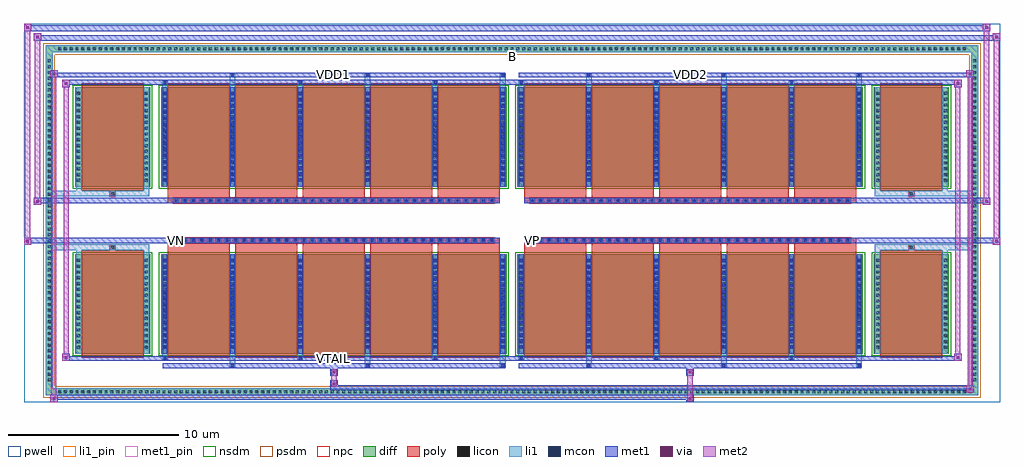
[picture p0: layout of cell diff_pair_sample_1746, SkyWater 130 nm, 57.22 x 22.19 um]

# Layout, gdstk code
import gdstk
lib = gdstk.Library(unit=1e-6, precision=5e-09)
def R(c, l, rs):  # rectangles x0, y0, x1, y1
    for r in rs: c.add(gdstk.rectangle(r[:2], r[2:], *l))
def A(c, l, x, y, w, h, nx, ny, dx, dy):  # array of equal rectangles
    R(c, l, [(x+i*dx, y+j*dy, x+i*dx+w, y+j*dy+h) for i in range(nx) for j in range(ny)])
def P(c, l, *ps):  # polygons
    for p in ps: c.add(gdstk.Polygon(p, *l))
pwell = (64, 44)
diff = (65, 20)
poly = (66, 20)
licon = (66, 44)
li1_pin = (67, 16)
li1 = (67, 20)
mcon = (67, 44)
met1_pin = (68, 16)
met1 = (68, 20)
via = (68, 44)
met2 = (69, 20)
nsdm = (93, 44)
psdm = (94, 20)
npc = (95, 20)

diff_pair_sample_1746 = lib.new_cell('diff_pair_sample_1746')
R(diff_pair_sample_1746, pwell, [(-28.61,-10.66,28.61,11.53), (-25.93,-8.85,-0.01,-0.805), (0.01,-8.85,25.93,-0.805), (-25.93,0.805,-0.01,8.85), (0.01,0.805,25.93,8.85)])
A(diff_pair_sample_1746, diff, -26.725, -10.26, 0.41, 0.41, 157, 2, 0.34, 20.11)
A(diff_pair_sample_1746, diff, -27.34, -9.555, 0.41, 0.41, 1, 56, 0, 0.34)
A(diff_pair_sample_1746, diff, 26.93, -9.555, 0.41, 0.41, 1, 56, 0, 0.34)
R(diff_pair_sample_1746, diff, [(-26.725,-10.26,26.725,-9.85), (-27.34,-9.555,-26.93,9.555), (26.93,-9.555,27.34,9.555), (-25.62,-7.805,-21.21,-1.985), (-20.57,-7.805,-0.32,-1.985), (0.32,-7.805,20.57,-1.985), (21.21,-7.805,25.62,-1.985), (-25.62,1.985,-21.21,7.805), (-20.57,1.985,-0.32,7.805), (0.32,1.985,20.57,7.805), (21.21,1.985,25.62,7.805), (-26.725,9.85,26.725,10.26)])
P(diff_pair_sample_1746, diff, [(27.34,10.26),(-27.34,10.26),(-27.34,-9.85),(-26.93,-9.85),(-26.93,9.85),(26.93,9.85),(26.93,-9.85),(-26.93,-9.85),(-27.34,-9.85),(-27.34,-10.26),(27.34,-10.26)])
A(diff_pair_sample_1746, poly, -20.18, -8.055, 3.63, 6.32, 5, 2, 3.96, 9.79)
A(diff_pair_sample_1746, poly, 0.71, -8.055, 3.63, 6.32, 5, 2, 3.96, 9.79)
A(diff_pair_sample_1746, poly, -20.18, -1.735, 3.63, 0.4, 5, 2, 3.96, 3.07)
A(diff_pair_sample_1746, poly, 0.71, -1.735, 3.63, 0.4, 5, 2, 3.96, 3.07)
A(diff_pair_sample_1746, poly, -19.86, -1.335, 0.33, 0.33, 38, 2, 0.5, 2.34)
A(diff_pair_sample_1746, poly, 1.03, -1.335, 0.33, 0.33, 38, 2, 0.5, 2.34)
R(diff_pair_sample_1746, poly, [(-25.23,-8.055,-21.6,-1.735), (21.6,-8.055,25.23,-1.735), (-23.58,-1.735,-23.25,-1.405), (-23.58,-1.735,-23.25,-1.405), (23.25,-1.735,23.58,-1.405), (23.25,-1.735,23.58,-1.405), (-20.18,-1.335,-0.71,-1.005), (0.71,-1.335,20.18,-1.005), (-20.18,1.005,-0.71,1.335), (0.71,1.005,20.18,1.335), (-23.58,1.405,-23.25,1.735), (-23.58,1.405,-23.25,1.735), (23.25,1.405,23.58,1.735), (23.25,1.405,23.58,1.735), (-25.23,1.735,-21.6,8.055), (21.6,1.735,25.23,8.055)])
A(diff_pair_sample_1746, licon, -26.605, -10.14, 0.17, 0.17, 157, 2, 0.34, 20.11)
A(diff_pair_sample_1746, licon, -27.22, -9.435, 0.17, 0.17, 1, 56, 0, 0.34)
A(diff_pair_sample_1746, licon, 27.05, -9.435, 0.17, 0.17, 1, 56, 0, 0.34)
A(diff_pair_sample_1746, licon, -25.48, -7.53, 0.17, 0.17, 1, 16, 0, 0.34)
A(diff_pair_sample_1746, licon, -21.52, -7.53, 0.17, 0.17, 1, 16, 0, 0.34)
A(diff_pair_sample_1746, licon, -20.43, -7.53, 0.17, 0.17, 6, 16, 3.96, 0.34)
A(diff_pair_sample_1746, licon, 0.46, -7.53, 0.17, 0.17, 6, 16, 3.96, 0.34)
A(diff_pair_sample_1746, licon, 21.35, -7.53, 0.17, 0.17, 1, 16, 0, 0.34)
A(diff_pair_sample_1746, licon, 25.31, -7.53, 0.17, 0.17, 1, 16, 0, 0.34)
A(diff_pair_sample_1746, licon, -19.78, -1.255, 0.17, 0.17, 38, 2, 0.5, 2.34)
A(diff_pair_sample_1746, licon, 1.11, -1.255, 0.17, 0.17, 38, 2, 0.5, 2.34)
A(diff_pair_sample_1746, licon, -25.48, 2.26, 0.17, 0.17, 1, 16, 0, 0.34)
A(diff_pair_sample_1746, licon, -21.52, 2.26, 0.17, 0.17, 1, 16, 0, 0.34)
A(diff_pair_sample_1746, licon, -20.43, 2.26, 0.17, 0.17, 6, 16, 3.96, 0.34)
A(diff_pair_sample_1746, licon, 0.46, 2.26, 0.17, 0.17, 6, 16, 3.96, 0.34)
A(diff_pair_sample_1746, licon, 21.35, 2.26, 0.17, 0.17, 1, 16, 0, 0.34)
A(diff_pair_sample_1746, licon, 25.31, 2.26, 0.17, 0.17, 1, 16, 0, 0.34)
R(diff_pair_sample_1746, licon, [(-23.5,-1.655,-23.33,-1.485), (23.33,-1.655,23.5,-1.485), (-23.5,1.485,-23.33,1.655), (23.33,1.485,23.5,1.655)])
R(diff_pair_sample_1746, li1_pin, [(-0.25,9.35,0.25,9.85)])
A(diff_pair_sample_1746, li1, -26.685, -10.22, 0.33, 0.33, 157, 2, 0.34, 20.11)
A(diff_pair_sample_1746, li1, -27.3, -9.515, 0.33, 0.33, 1, 56, 0, 0.34)
A(diff_pair_sample_1746, li1, 26.97, -9.515, 0.33, 0.33, 1, 56, 0, 0.34)
A(diff_pair_sample_1746, li1, -16.55, -8.61, 0.33, 0.805, 3, 2, 7.92, 16.415)
A(diff_pair_sample_1746, li1, -16.47, -8.61, 0.17, 0.17, 3, 2, 7.92, 17.05)
A(diff_pair_sample_1746, li1, 4.34, -8.61, 0.33, 0.805, 3, 2, 7.92, 16.415)
A(diff_pair_sample_1746, li1, 4.42, -8.61, 0.17, 0.17, 3, 2, 7.92, 17.05)
A(diff_pair_sample_1746, li1, -20.51, -8.18, 0.33, 0.375, 3, 2, 7.92, 15.985)
A(diff_pair_sample_1746, li1, -20.43, -8.18, 0.17, 0.17, 3, 2, 7.92, 16.19)
A(diff_pair_sample_1746, li1, 0.38, -8.18, 0.33, 0.375, 3, 2, 7.92, 15.985)
A(diff_pair_sample_1746, li1, 0.46, -8.18, 0.17, 0.17, 3, 2, 7.92, 16.19)
A(diff_pair_sample_1746, li1, -20.51, -7.805, 0.33, 5.82, 6, 2, 3.96, 9.79)
A(diff_pair_sample_1746, li1, 0.38, -7.805, 0.33, 5.82, 6, 2, 3.96, 9.79)
A(diff_pair_sample_1746, li1, -25.56, -7.61, 0.33, 0.33, 1, 16, 0, 0.34)
A(diff_pair_sample_1746, li1, -21.6, -7.61, 0.33, 0.33, 1, 16, 0, 0.34)
A(diff_pair_sample_1746, li1, -20.51, -7.61, 0.33, 0.33, 6, 16, 3.96, 0.34)
A(diff_pair_sample_1746, li1, 0.38, -7.61, 0.33, 0.33, 6, 16, 3.96, 0.34)
A(diff_pair_sample_1746, li1, 21.27, -7.61, 0.33, 0.33, 1, 16, 0, 0.34)
A(diff_pair_sample_1746, li1, 25.23, -7.61, 0.33, 0.33, 1, 16, 0, 0.34)
A(diff_pair_sample_1746, li1, -20.43, -7.5, 0.17, 0.17, 6, 15, 3.96, 0.36)
A(diff_pair_sample_1746, li1, -20.43, -7.5, 0.17, 5.21, 6, 2, 3.96, 9.79)
A(diff_pair_sample_1746, li1, 0.46, -7.5, 0.17, 0.17, 6, 15, 3.96, 0.36)
A(diff_pair_sample_1746, li1, 0.46, -7.5, 0.17, 5.21, 6, 2, 3.96, 9.79)
A(diff_pair_sample_1746, li1, -19.86, -1.335, 0.33, 0.33, 38, 2, 0.5, 2.34)
A(diff_pair_sample_1746, li1, 1.03, -1.335, 0.33, 0.33, 38, 2, 0.5, 2.34)
A(diff_pair_sample_1746, li1, -25.56, 2.18, 0.33, 0.33, 1, 16, 0, 0.34)
A(diff_pair_sample_1746, li1, -21.6, 2.18, 0.33, 0.33, 1, 16, 0, 0.34)
A(diff_pair_sample_1746, li1, -20.51, 2.18, 0.33, 0.33, 6, 16, 3.96, 0.34)
A(diff_pair_sample_1746, li1, 0.38, 2.18, 0.33, 0.33, 6, 16, 3.96, 0.34)
A(diff_pair_sample_1746, li1, 21.27, 2.18, 0.33, 0.33, 1, 16, 0, 0.34)
A(diff_pair_sample_1746, li1, 25.23, 2.18, 0.33, 0.33, 1, 16, 0, 0.34)
A(diff_pair_sample_1746, li1, -20.43, 2.29, 0.17, 0.17, 6, 15, 3.96, 0.36)
A(diff_pair_sample_1746, li1, 0.46, 2.29, 0.17, 0.17, 6, 15, 3.96, 0.36)
R(diff_pair_sample_1746, li1, [(-27.34,-10.26,-26.93,-9.85), (-27.34,-10.26,-26.93,-9.85), (-26.93,-10.26,26.93,-9.85), (26.93,-10.26,27.34,-9.85), (26.93,-10.26,27.34,-9.85), (-27.34,-9.85,-26.93,9.85), (26.93,-9.85,27.34,9.85), (-25.56,-7.805,-25.23,-1.985), (-21.6,-7.805,-21.27,-1.985), (21.27,-7.805,21.6,-1.985), (25.23,-7.805,25.56,-1.985), (-25.56,-1.985,-25.23,-1.405), (-21.6,-1.985,-21.27,-1.405), (21.27,-1.985,21.6,-1.405), (25.23,-1.985,25.56,-1.405), (-27.34,-1.735,-23.58,-1.405), (-25.56,-1.735,-23.58,-1.405), (-23.58,-1.735,-23.25,-1.405), (-23.25,-1.735,-21.27,-1.405), (21.27,-1.735,23.25,-1.405), (23.25,-1.735,23.58,-1.405), (23.25,-1.735,27.34,-1.405), (23.58,-1.735,25.56,-1.405), (-27.34,1.405,-23.58,1.735), (-25.56,1.405,-23.58,1.735), (-25.56,1.405,-25.23,1.985), (-23.58,1.405,-23.25,1.735), (-23.25,1.405,-21.27,1.735), (-21.6,1.405,-21.27,1.985), (21.27,1.405,23.25,1.735), (21.27,1.405,21.6,1.985), (23.25,1.405,23.58,1.735), (23.25,1.405,27.34,1.735), (23.58,1.405,25.56,1.735), (25.23,1.405,25.56,1.985), (-25.56,1.985,-25.23,7.805), (-21.6,1.985,-21.27,7.805), (21.27,1.985,21.6,7.805), (25.23,1.985,25.56,7.805), (-27.34,9.85,-26.93,10.26), (-27.34,9.85,-26.93,10.26), (-26.93,9.85,26.93,10.26), (26.93,9.85,27.34,10.26), (26.93,9.85,27.34,10.26)])
A(diff_pair_sample_1746, mcon, -16.47, -8.61, 0.17, 0.17, 3, 2, 7.92, 17.05)
A(diff_pair_sample_1746, mcon, 4.42, -8.61, 0.17, 0.17, 3, 2, 7.92, 17.05)
A(diff_pair_sample_1746, mcon, -20.43, -8.18, 0.17, 0.17, 3, 2, 7.92, 16.19)
A(diff_pair_sample_1746, mcon, 0.46, -8.18, 0.17, 0.17, 3, 2, 7.92, 16.19)
A(diff_pair_sample_1746, mcon, -20.43, -7.5, 0.17, 0.17, 6, 15, 3.96, 0.36)
A(diff_pair_sample_1746, mcon, 0.46, -7.5, 0.17, 0.17, 6, 15, 3.96, 0.36)
A(diff_pair_sample_1746, mcon, -19.78, -1.255, 0.17, 0.17, 38, 2, 0.5, 2.34)
A(diff_pair_sample_1746, mcon, 1.11, -1.255, 0.17, 0.17, 38, 2, 0.5, 2.34)
A(diff_pair_sample_1746, mcon, -20.43, 2.29, 0.17, 0.17, 6, 15, 3.96, 0.36)
A(diff_pair_sample_1746, mcon, 0.46, 2.29, 0.17, 0.17, 6, 15, 3.96, 0.36)
R(diff_pair_sample_1746, met1_pin, [(-10.58,-8.22,-10.31,-7.95), (-19.83,-1.295,-19.56,-1.025), (1.06,-1.295,1.33,-1.025), (-10.58,8.4,-10.31,8.67), (10.31,8.4,10.58,8.67)])
A(diff_pair_sample_1746, met1, -16.53, -8.67, 0.29, 0.29, 3, 2, 7.92, 17.05)
A(diff_pair_sample_1746, met1, 4.36, -8.67, 0.29, 0.29, 3, 2, 7.92, 17.05)
A(diff_pair_sample_1746, met1, -20.49, -8.24, 0.29, 0.29, 3, 2, 7.92, 16.19)
A(diff_pair_sample_1746, met1, 0.4, -8.24, 0.29, 0.29, 3, 2, 7.92, 16.19)
A(diff_pair_sample_1746, met1, -20.49, -7.805, 0.29, 5.82, 6, 2, 3.96, 9.79)
A(diff_pair_sample_1746, met1, 0.4, -7.805, 0.29, 5.82, 6, 2, 3.96, 9.79)
A(diff_pair_sample_1746, met1, -20.49, -7.56, 0.29, 0.29, 6, 15, 3.96, 0.36)
A(diff_pair_sample_1746, met1, 0.4, -7.56, 0.29, 0.29, 6, 15, 3.96, 0.36)
A(diff_pair_sample_1746, met1, -19.84, -1.315, 0.29, 0.29, 38, 2, 0.5, 2.34)
A(diff_pair_sample_1746, met1, 1.05, -1.315, 0.29, 0.29, 38, 2, 0.5, 2.34)
A(diff_pair_sample_1746, met1, -20.49, 2.23, 0.29, 0.29, 6, 15, 3.96, 0.36)
A(diff_pair_sample_1746, met1, 0.4, 2.23, 0.29, 0.29, 6, 15, 3.96, 0.36)
R(diff_pair_sample_1746, met1, [(-27.07,-10.66,-26.64,-10.23), (10.23,-10.66,10.66,-10.23), (-27.07,-10.52,10.66,-10.23), (26.64,-10.09,27.07,-9.66), (-10.66,-9.95,27.07,-9.66), (-10.66,-9.81,-10.23,-9.38), (-10.66,-9.1,-10.23,-8.67), (10.23,-9.1,10.66,-8.67), (-20.49,-8.67,-0.4,-8.38), (0.4,-8.67,20.49,-8.38), (-26.36,-8.24,-25.93,-7.81), (-26.36,-8.24,-20.49,-7.95), (-20.49,-8.24,-0.4,-7.95), (-0.4,-8.24,0.4,-7.95), (0.4,-8.24,20.49,-7.95), (20.49,-8.24,26.36,-7.95), (25.93,-8.24,26.36,-7.81), (-28.61,-1.435,-28.18,-1.005), (28.18,-1.435,28.61,-1.005), (-28.61,-1.335,-0.71,-1.005), (-20.18,-1.335,-0.71,-1.005), (0.71,-1.335,20.18,-1.005), (0.71,-1.335,28.61,-1.005), (-28.04,0.905,-27.61,1.335), (27.61,0.905,28.04,1.335), (-28.04,1.005,-20.18,1.335), (-20.18,1.005,-0.71,1.335), (0.71,1.005,20.18,1.335), (20.18,1.005,28.04,1.335), (-26.36,7.81,-25.93,8.24), (25.93,7.81,26.36,8.24), (-26.36,7.95,-20.49,8.24), (-20.49,7.95,-0.4,8.24), (-0.4,7.95,0.4,8.24), (0.4,7.95,20.49,8.24), (20.49,7.95,26.36,8.24), (-27.07,8.38,-26.64,8.81), (-27.07,8.38,-20.49,8.67), (-20.49,8.38,-0.4,8.67), (0.4,8.38,20.49,8.67), (20.49,8.38,27.07,8.67), (26.64,8.38,27.07,8.81), (-28.04,10.53,-27.61,10.96), (-28.04,10.53,-25.93,10.86), (-25.93,10.53,25.93,10.86), (25.93,10.53,28.61,10.86), (28.18,10.53,28.61,10.96), (-28.61,11.1,-28.18,11.53), (-28.61,11.1,-25.93,11.43), (-25.93,11.1,25.93,11.43), (25.93,11.1,28.04,11.43), (27.61,11.1,28.04,11.53)])
R(diff_pair_sample_1746, via, [(-26.93,-10.52,-26.78,-10.37), (10.37,-10.52,10.52,-10.37), (26.78,-9.95,26.93,-9.8), (-10.52,-9.67,-10.37,-9.52), (-10.52,-8.96,-10.37,-8.81), (10.37,-8.96,10.52,-8.81), (-26.22,-8.1,-26.07,-7.95), (26.07,-8.1,26.22,-7.95), (-28.47,-1.295,-28.32,-1.145), (28.32,-1.295,28.47,-1.145), (-27.9,1.045,-27.75,1.195), (27.75,1.045,27.9,1.195), (-26.22,7.95,-26.07,8.1), (26.07,7.95,26.22,8.1), (-26.93,8.52,-26.78,8.67), (26.78,8.52,26.93,8.67), (-27.9,10.67,-27.75,10.82), (28.32,10.67,28.47,10.82), (-28.47,11.24,-28.32,11.39), (27.75,11.24,27.9,11.39)])
R(diff_pair_sample_1746, met2, [(-27.07,-10.66,-26.64,-10.23), (-27,-10.66,-26.71,8.81), (-26.71,-10.66,-26.64,-10.23), (-27.02,-10.61,-26.69,-10.28), (10.28,-10.61,10.61,-10.28), (10.28,-10.28,10.61,-9.05), (26.64,-10.09,27.07,-9.66), (26.71,-10.09,27,8.81), (27,-10.09,27.07,-9.66), (26.69,-10.04,27.02,-9.71), (-10.61,-9.76,-10.28,-9.43), (-10.61,-9.43,-10.28,-9.05), (-10.61,-9.05,-10.28,-8.72), (10.28,-9.05,10.61,-8.72), (-26.36,-8.24,-25.93,-7.81), (-26.29,-8.24,-26,8.24), (-26,-8.24,-25.93,-7.81), (25.93,-8.24,26.36,-7.81), (26,-8.24,26.29,8.24), (26.29,-8.24,26.36,-7.81), (-26.31,-8.19,-25.98,-7.86), (25.98,-8.19,26.31,-7.86), (-28.61,-1.435,-28.18,-1.005), (-28.56,-1.435,-28.23,11.53), (-28.23,-1.435,-28.18,-1.005), (28.18,-1.435,28.61,-1.005), (28.23,-1.435,28.56,10.96), (28.56,-1.435,28.61,-1.005), (-28.56,-1.385,-28.23,-1.055), (28.23,-1.385,28.56,-1.055), (-28.04,0.905,-27.61,1.335), (-27.99,0.905,-27.66,10.96), (-27.66,0.905,-27.61,1.335), (27.61,0.905,28.04,1.335), (27.66,0.905,27.99,11.53), (27.99,0.905,28.04,1.335), (-27.99,0.955,-27.66,1.285), (27.66,0.955,27.99,1.285), (-26.36,7.81,-25.93,8.24), (-26,7.81,-25.93,8.24), (25.93,7.81,26.36,8.24), (26.29,7.81,26.36,8.24), (-26.31,7.86,-25.98,8.19), (25.98,7.86,26.31,8.19), (-27.07,8.38,-26.64,8.81), (-26.71,8.38,-26.64,8.81), (26.64,8.38,27.07,8.81), (27,8.38,27.07,8.81), (-27.02,8.43,-26.69,8.76), (26.69,8.43,27.02,8.76), (-28.04,10.53,-27.61,10.96), (-27.66,10.53,-27.61,10.96), (28.18,10.53,28.61,10.96), (28.56,10.53,28.61,10.96), (-27.99,10.58,-27.66,10.91), (28.23,10.58,28.56,10.91), (-28.61,11.1,-28.18,11.53), (-28.23,11.1,-28.18,11.53), (27.61,11.1,28.04,11.53), (27.99,11.1,28.04,11.53), (-28.56,11.15,-28.23,11.48), (27.66,11.15,27.99,11.48)])
R(diff_pair_sample_1746, nsdm, [(-25.75,-7.935,-21.08,-1.855), (-20.7,-7.935,-0.19,-1.855), (0.19,-7.935,20.7,-1.855), (21.08,-7.935,25.75,-1.855), (-25.75,1.855,-21.08,7.935), (-20.7,1.855,-0.19,7.935), (0.19,1.855,20.7,7.935), (21.08,1.855,25.75,7.935)])
P(diff_pair_sample_1746, psdm, [(27.47,10.39),(-27.47,10.39),(-27.47,-9.72),(-26.8,-9.72),(-26.8,9.72),(26.8,9.72),(26.8,-9.72),(-26.8,-9.72),(-27.47,-9.72),(-27.47,-10.39),(27.47,-10.39)])
A(diff_pair_sample_1746, npc, -19.88, -1.355, 0.37, 0.37, 38, 2, 0.5, 2.34)
A(diff_pair_sample_1746, npc, 1.01, -1.355, 0.37, 0.37, 38, 2, 0.5, 2.34)
R(diff_pair_sample_1746, npc, [(-23.6,-1.755,-23.23,-1.385), (23.23,-1.755,23.6,-1.385), (-19.88,-1.355,-19.01,-0.985), (-19.88,-1.355,-19.01,-0.985), (-19.38,-1.355,-18.51,-0.985), (-19.38,-1.355,-18.51,-0.985), (-18.88,-1.355,-18.01,-0.985), (-18.88,-1.355,-18.01,-0.985), (-18.38,-1.355,-17.51,-0.985), (-18.38,-1.355,-17.51,-0.985), (-17.88,-1.355,-17.01,-0.985), (-17.88,-1.355,-17.01,-0.985), (-17.38,-1.355,-16.51,-0.985), (-17.38,-1.355,-16.51,-0.985), (-16.88,-1.355,-16.01,-0.985), (-16.88,-1.355,-16.01,-0.985), (-16.38,-1.355,-15.51,-0.985), (-16.38,-1.355,-15.51,-0.985), (-15.88,-1.355,-15.01,-0.985), (-15.88,-1.355,-15.01,-0.985), (-15.38,-1.355,-14.51,-0.985), (-15.38,-1.355,-14.51,-0.985), (-14.88,-1.355,-14.01,-0.985), (-14.88,-1.355,-14.01,-0.985), (-14.38,-1.355,-13.51,-0.985), (-14.38,-1.355,-13.51,-0.985), (-13.88,-1.355,-13.01,-0.985), (-13.88,-1.355,-13.01,-0.985), (-13.38,-1.355,-12.51,-0.985), (-13.38,-1.355,-12.51,-0.985), (-12.88,-1.355,-12.01,-0.985), (-12.88,-1.355,-12.01,-0.985), (-12.38,-1.355,-11.51,-0.985), (-12.38,-1.355,-11.51,-0.985), (-11.88,-1.355,-11.01,-0.985), (-11.88,-1.355,-11.01,-0.985), (-11.38,-1.355,-10.51,-0.985), (-11.38,-1.355,-10.51,-0.985), (-10.88,-1.355,-10.01,-0.985), (-10.88,-1.355,-10.01,-0.985), (-10.38,-1.355,-9.51,-0.985), (-10.38,-1.355,-9.51,-0.985), (-9.88,-1.355,-9.01,-0.985), (-9.88,-1.355,-9.01,-0.985), (-9.38,-1.355,-8.51,-0.985), (-9.38,-1.355,-8.51,-0.985), (-8.88,-1.355,-8.01,-0.985), (-8.88,-1.355,-8.01,-0.985), (-8.38,-1.355,-7.51,-0.985), (-8.38,-1.355,-7.51,-0.985), (-7.88,-1.355,-7.01,-0.985), (-7.88,-1.355,-7.01,-0.985), (-7.38,-1.355,-6.51,-0.985), (-7.38,-1.355,-6.51,-0.985), (-6.88,-1.355,-6.01,-0.985), (-6.88,-1.355,-6.01,-0.985), (-6.38,-1.355,-5.51,-0.985), (-6.38,-1.355,-5.51,-0.985), (-5.88,-1.355,-5.01,-0.985), (-5.88,-1.355,-5.01,-0.985), (-5.38,-1.355,-4.51,-0.985), (-5.38,-1.355,-4.51,-0.985), (-4.88,-1.355,-4.01,-0.985), (-4.88,-1.355,-4.01,-0.985), (-4.38,-1.355,-3.51,-0.985), (-4.38,-1.355,-3.51,-0.985), (-3.88,-1.355,-3.01,-0.985), (-3.88,-1.355,-3.01,-0.985), (-3.38,-1.355,-2.51,-0.985), (-3.38,-1.355,-2.51,-0.985), (-2.88,-1.355,-2.01,-0.985), (-2.88,-1.355,-2.01,-0.985), (-2.38,-1.355,-1.51,-0.985), (-2.38,-1.355,-1.51,-0.985), (-1.88,-1.355,-1.01,-0.985), (-1.88,-1.355,-1.01,-0.985), (1.01,-1.355,1.88,-0.985), (1.01,-1.355,1.88,-0.985), (1.51,-1.355,2.38,-0.985), (1.51,-1.355,2.38,-0.985), (2.01,-1.355,2.88,-0.985), (2.01,-1.355,2.88,-0.985), (2.51,-1.355,3.38,-0.985), (2.51,-1.355,3.38,-0.985), (3.01,-1.355,3.88,-0.985), (3.01,-1.355,3.88,-0.985), (3.51,-1.355,4.38,-0.985), (3.51,-1.355,4.38,-0.985), (4.01,-1.355,4.88,-0.985), (4.01,-1.355,4.88,-0.985), (4.51,-1.355,5.38,-0.985), (4.51,-1.355,5.38,-0.985), (5.01,-1.355,5.88,-0.985), (5.01,-1.355,5.88,-0.985), (5.51,-1.355,6.38,-0.985), (5.51,-1.355,6.38,-0.985), (6.01,-1.355,6.88,-0.985), (6.01,-1.355,6.88,-0.985), (6.51,-1.355,7.38,-0.985), (6.51,-1.355,7.38,-0.985), (7.01,-1.355,7.88,-0.985), (7.01,-1.355,7.88,-0.985), (7.51,-1.355,8.38,-0.985), (7.51,-1.355,8.38,-0.985), (8.01,-1.355,8.88,-0.985), (8.01,-1.355,8.88,-0.985), (8.51,-1.355,9.38,-0.985), (8.51,-1.355,9.38,-0.985), (9.01,-1.355,9.88,-0.985), (9.01,-1.355,9.88,-0.985), (9.51,-1.355,10.38,-0.985), (9.51,-1.355,10.38,-0.985), (10.01,-1.355,10.88,-0.985), (10.01,-1.355,10.88,-0.985), (10.51,-1.355,11.38,-0.985), (10.51,-1.355,11.38,-0.985), (11.01,-1.355,11.88,-0.985), (11.01,-1.355,11.88,-0.985), (11.51,-1.355,12.38,-0.985), (11.51,-1.355,12.38,-0.985), (12.01,-1.355,12.88,-0.985), (12.01,-1.355,12.88,-0.985), (12.51,-1.355,13.38,-0.985), (12.51,-1.355,13.38,-0.985), (13.01,-1.355,13.88,-0.985), (13.01,-1.355,13.88,-0.985), (13.51,-1.355,14.38,-0.985), (13.51,-1.355,14.38,-0.985), (14.01,-1.355,14.88,-0.985), (14.01,-1.355,14.88,-0.985), (14.51,-1.355,15.38,-0.985), (14.51,-1.355,15.38,-0.985), (15.01,-1.355,15.88,-0.985), (15.01,-1.355,15.88,-0.985), (15.51,-1.355,16.38,-0.985), (15.51,-1.355,16.38,-0.985), (16.01,-1.355,16.88,-0.985), (16.01,-1.355,16.88,-0.985), (16.51,-1.355,17.38,-0.985), (16.51,-1.355,17.38,-0.985), (17.01,-1.355,17.88,-0.985), (17.01,-1.355,17.88,-0.985), (17.51,-1.355,18.38,-0.985), (17.51,-1.355,18.38,-0.985), (18.01,-1.355,18.88,-0.985), (18.01,-1.355,18.88,-0.985), (18.51,-1.355,19.38,-0.985), (18.51,-1.355,19.38,-0.985), (19.01,-1.355,19.88,-0.985), (19.01,-1.355,19.88,-0.985), (-19.88,0.985,-19.01,1.355), (-19.88,0.985,-19.01,1.355), (-19.38,0.985,-18.51,1.355), (-19.38,0.985,-18.51,1.355), (-18.88,0.985,-18.01,1.355), (-18.88,0.985,-18.01,1.355), (-18.38,0.985,-17.51,1.355), (-18.38,0.985,-17.51,1.355), (-17.88,0.985,-17.01,1.355), (-17.88,0.985,-17.01,1.355), (-17.38,0.985,-16.51,1.355), (-17.38,0.985,-16.51,1.355), (-16.88,0.985,-16.01,1.355), (-16.88,0.985,-16.01,1.355), (-16.38,0.985,-15.51,1.355), (-16.38,0.985,-15.51,1.355), (-15.88,0.985,-15.01,1.355), (-15.88,0.985,-15.01,1.355), (-15.38,0.985,-14.51,1.355), (-15.38,0.985,-14.51,1.355), (-14.88,0.985,-14.01,1.355), (-14.88,0.985,-14.01,1.355), (-14.38,0.985,-13.51,1.355), (-14.38,0.985,-13.51,1.355), (-13.88,0.985,-13.01,1.355), (-13.88,0.985,-13.01,1.355), (-13.38,0.985,-12.51,1.355), (-13.38,0.985,-12.51,1.355), (-12.88,0.985,-12.01,1.355), (-12.88,0.985,-12.01,1.355), (-12.38,0.985,-11.51,1.355), (-12.38,0.985,-11.51,1.355), (-11.88,0.985,-11.01,1.355), (-11.88,0.985,-11.01,1.355), (-11.38,0.985,-10.51,1.355), (-11.38,0.985,-10.51,1.355), (-10.88,0.985,-10.01,1.355), (-10.88,0.985,-10.01,1.355), (-10.38,0.985,-9.51,1.355), (-10.38,0.985,-9.51,1.355), (-9.88,0.985,-9.01,1.355), (-9.88,0.985,-9.01,1.355), (-9.38,0.985,-8.51,1.355), (-9.38,0.985,-8.51,1.355), (-8.88,0.985,-8.01,1.355), (-8.88,0.985,-8.01,1.355), (-8.38,0.985,-7.51,1.355), (-8.38,0.985,-7.51,1.355), (-7.88,0.985,-7.01,1.355), (-7.88,0.985,-7.01,1.355), (-7.38,0.985,-6.51,1.355), (-7.38,0.985,-6.51,1.355), (-6.88,0.985,-6.01,1.355), (-6.88,0.985,-6.01,1.355), (-6.38,0.985,-5.51,1.355), (-6.38,0.985,-5.51,1.355), (-5.88,0.985,-5.01,1.355), (-5.88,0.985,-5.01,1.355), (-5.38,0.985,-4.51,1.355), (-5.38,0.985,-4.51,1.355), (-4.88,0.985,-4.01,1.355), (-4.88,0.985,-4.01,1.355), (-4.38,0.985,-3.51,1.355), (-4.38,0.985,-3.51,1.355), (-3.88,0.985,-3.01,1.355), (-3.88,0.985,-3.01,1.355), (-3.38,0.985,-2.51,1.355), (-3.38,0.985,-2.51,1.355), (-2.88,0.985,-2.01,1.355), (-2.88,0.985,-2.01,1.355), (-2.38,0.985,-1.51,1.355), (-2.38,0.985,-1.51,1.355), (-1.88,0.985,-1.01,1.355), (-1.88,0.985,-1.01,1.355), (1.01,0.985,1.88,1.355), (1.01,0.985,1.88,1.355), (1.51,0.985,2.38,1.355), (1.51,0.985,2.38,1.355), (2.01,0.985,2.88,1.355), (2.01,0.985,2.88,1.355), (2.51,0.985,3.38,1.355), (2.51,0.985,3.38,1.355), (3.01,0.985,3.88,1.355), (3.01,0.985,3.88,1.355), (3.51,0.985,4.38,1.355), (3.51,0.985,4.38,1.355), (4.01,0.985,4.88,1.355), (4.01,0.985,4.88,1.355), (4.51,0.985,5.38,1.355), (4.51,0.985,5.38,1.355), (5.01,0.985,5.88,1.355), (5.01,0.985,5.88,1.355), (5.51,0.985,6.38,1.355), (5.51,0.985,6.38,1.355), (6.01,0.985,6.88,1.355), (6.01,0.985,6.88,1.355), (6.51,0.985,7.38,1.355), (6.51,0.985,7.38,1.355), (7.01,0.985,7.88,1.355), (7.01,0.985,7.88,1.355), (7.51,0.985,8.38,1.355), (7.51,0.985,8.38,1.355), (8.01,0.985,8.88,1.355), (8.01,0.985,8.88,1.355), (8.51,0.985,9.38,1.355), (8.51,0.985,9.38,1.355), (9.01,0.985,9.88,1.355), (9.01,0.985,9.88,1.355), (9.51,0.985,10.38,1.355), (9.51,0.985,10.38,1.355), (10.01,0.985,10.88,1.355), (10.01,0.985,10.88,1.355), (10.51,0.985,11.38,1.355), (10.51,0.985,11.38,1.355), (11.01,0.985,11.88,1.355), (11.01,0.985,11.88,1.355), (11.51,0.985,12.38,1.355), (11.51,0.985,12.38,1.355), (12.01,0.985,12.88,1.355), (12.01,0.985,12.88,1.355), (12.51,0.985,13.38,1.355), (12.51,0.985,13.38,1.355), (13.01,0.985,13.88,1.355), (13.01,0.985,13.88,1.355), (13.51,0.985,14.38,1.355), (13.51,0.985,14.38,1.355), (14.01,0.985,14.88,1.355), (14.01,0.985,14.88,1.355), (14.51,0.985,15.38,1.355), (14.51,0.985,15.38,1.355), (15.01,0.985,15.88,1.355), (15.01,0.985,15.88,1.355), (15.51,0.985,16.38,1.355), (15.51,0.985,16.38,1.355), (16.01,0.985,16.88,1.355), (16.01,0.985,16.88,1.355), (16.51,0.985,17.38,1.355), (16.51,0.985,17.38,1.355), (17.01,0.985,17.88,1.355), (17.01,0.985,17.88,1.355), (17.51,0.985,18.38,1.355), (17.51,0.985,18.38,1.355), (18.01,0.985,18.88,1.355), (18.01,0.985,18.88,1.355), (18.51,0.985,19.38,1.355), (18.51,0.985,19.38,1.355), (19.01,0.985,19.88,1.355), (19.01,0.985,19.88,1.355), (-23.6,1.385,-23.23,1.755), (23.23,1.385,23.6,1.755)])
diff_pair_sample_1746.add(gdstk.Label('VTAIL', (-10.445,-8.085), layer=68, texttype=5))
diff_pair_sample_1746.add(gdstk.Label('VN', (-19.695,-1.16), layer=68, texttype=5))
diff_pair_sample_1746.add(gdstk.Label('VP', (1.195,-1.16), layer=68, texttype=5))
diff_pair_sample_1746.add(gdstk.Label('B', (0,9.6), layer=67, texttype=5))
diff_pair_sample_1746.add(gdstk.Label('VDD2', (10.445,8.535), layer=68, texttype=5))
diff_pair_sample_1746.add(gdstk.Label('VDD1', (-10.445,8.535), layer=68, texttype=5))

lib.write_gds('diff_pair_sample_1746.gds')
